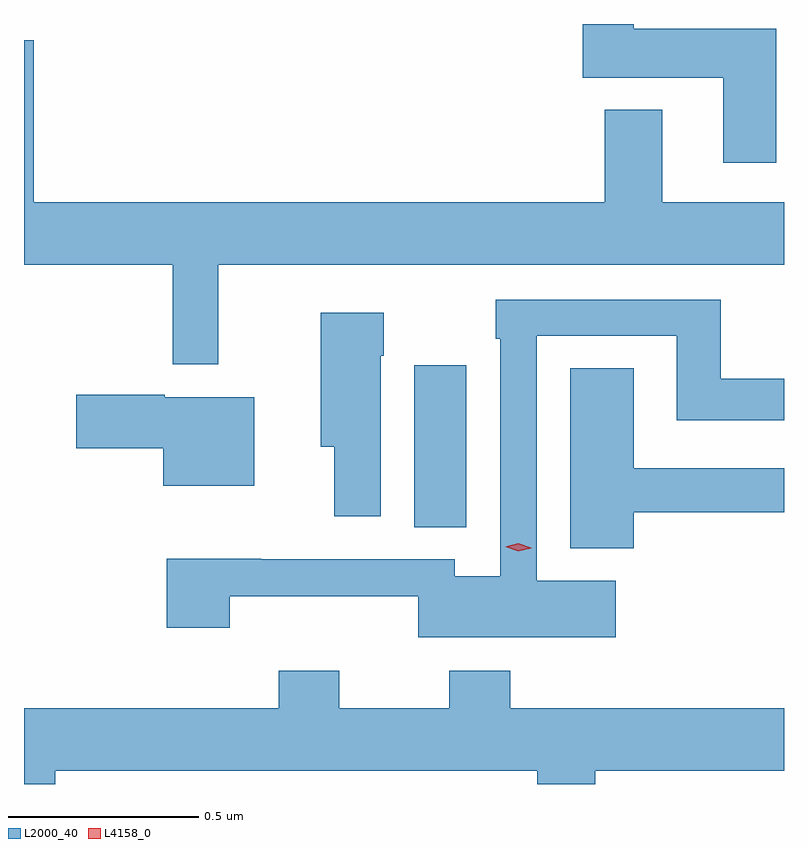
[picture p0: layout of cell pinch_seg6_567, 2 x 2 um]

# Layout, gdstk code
import gdstk
lib = gdstk.Library(unit=1e-6, precision=1e-09)
def R(c, l, rs):  # rectangles x0, y0, x1, y1
    for r in rs: c.add(gdstk.rectangle(r[:2], r[2:], *l))
def P(c, l, *ps):  # polygons
    for p in ps: c.add(gdstk.Polygon(p, *l))
L2000_40 = (2000, 40)
L4158_0 = (4158, 0)

pinch_seg6_567 = lib.new_cell('pinch_seg6_567')
R(pinch_seg6_567, L2000_40, [(517.442,985.273,517.579,985.699)])
P(pinch_seg6_567, L2000_40, [(518.395,986.584),(518.02,986.584),(518.02,986.597),(517.886,986.597),(517.886,986.456),(518.255,986.456),(518.255,986.232),(518.395,986.232)],
  [(516.926,985.964),(518.415,985.964),(518.415,986.128),(518.095,986.128),(518.095,986.371),(517.943,986.371),(517.943,986.128),(516.44,986.128),(516.44,986.554),(516.415,986.554),(516.415,985.964),(516.806,985.964),(516.806,985.701),(516.926,985.701)],
  [(517.972,985.132),(517.764,985.132),(517.764,985.776),(518.133,985.776),(518.133,985.554),(518.415,985.554),(518.415,985.663),(518.249,985.663),(518.249,985.872),(517.656,985.872),(517.656,985.769),(517.668,985.769),(517.668,985.144),(517.548,985.144),(517.548,985.188),(517.039,985.188),(517.039,985.19),(516.791,985.19),(516.791,985.008),(516.956,985.008),(516.956,985.091),(517.452,985.091),(517.452,984.983),(517.972,984.983)],
  [(517.354,985.724),(517.362,985.724),(517.362,985.837),(517.196,985.837),(517.196,985.484),(517.232,985.484),(517.232,985.302),(517.354,985.302)],
  [(518.02,985.312),(518.415,985.312),(518.415,985.428),(518.02,985.428),(518.02,985.691),(517.853,985.691),(517.853,985.217),(518.02,985.217)],
  [(517.021,985.615),(516.786,985.615),(516.786,985.622),(516.552,985.622),(516.552,985.481),(516.782,985.481),(516.782,985.382),(517.021,985.382)],
  [(516.497,984.632),(517.766,984.632),(517.766,984.597),(517.918,984.597),(517.918,984.632),(518.415,984.632),(518.415,984.796),(517.694,984.796),(517.694,984.895),(517.534,984.895),(517.534,984.796),(517.245,984.796),(517.245,984.895),(517.085,984.895),(517.085,984.796),(516.415,984.796),(516.415,984.597),(516.497,984.597)])
P(pinch_seg6_567, L4158_0, [(517.715,985.21),(517.681,985.221),(517.68,985.221),(517.681,985.221),(517.716,985.23),(517.75,985.219),(517.75,985.219),(517.75,985.218)])

lib.write_gds('pinch_seg6_567.gds')
